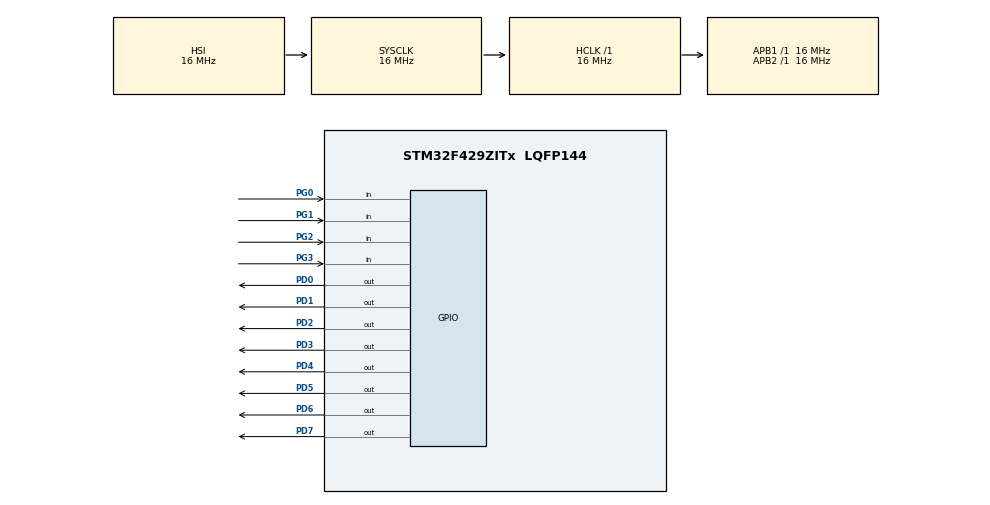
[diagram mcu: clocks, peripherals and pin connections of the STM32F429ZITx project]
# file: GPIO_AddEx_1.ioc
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Mcu.Family=STM32F4
Mcu.Name=STM32F429ZITx
Mcu.Package=LQFP144
NVIC.PriorityGroup=NVIC_PRIORITYGROUP_4
PA13.Mode=Serial_Wire
PA13.Signal=SYS_JTMS-SWDIO
PA14.Mode=Serial_Wire
PA14.Signal=SYS_JTCK-SWCLK
PD0.GPIO_ModeDefaultOutputPP=GPIO_MODE_OUTPUT_PP
PD0.GPIO_PuPd=GPIO_PULLUP
PD0.GPIO_Speed=GPIO_SPEED_FREQ_HIGH
PD0.PinState=GPIO_PIN_RESET
PD0.Signal=GPIO_Output
PD1.GPIO_ModeDefaultOutputPP=GPIO_MODE_OUTPUT_PP
PD1.GPIO_PuPd=GPIO_PULLUP
PD1.GPIO_Speed=GPIO_SPEED_FREQ_HIGH
PD1.PinState=GPIO_PIN_RESET
PD1.Signal=GPIO_Output
PD2.GPIO_ModeDefaultOutputPP=GPIO_MODE_OUTPUT_PP
PD2.GPIO_PuPd=GPIO_PULLUP
PD2.GPIO_Speed=GPIO_SPEED_FREQ_HIGH
PD2.PinState=GPIO_PIN_RESET
PD2.Signal=GPIO_Output
PD3.GPIO_ModeDefaultOutputPP=GPIO_MODE_OUTPUT_PP
PD3.GPIO_PuPd=GPIO_PULLUP
PD3.GPIO_Speed=GPIO_SPEED_FREQ_HIGH
PD3.PinState=GPIO_PIN_RESET
PD3.Signal=GPIO_Output
PD4.GPIO_ModeDefaultOutputPP=GPIO_MODE_OUTPUT_PP
PD4.GPIO_PuPd=GPIO_PULLUP
PD4.GPIO_Speed=GPIO_SPEED_FREQ_HIGH
PD4.PinState=GPIO_PIN_RESET
PD4.Signal=GPIO_Output
PD5.GPIO_ModeDefaultOutputPP=GPIO_MODE_OUTPUT_PP
PD5.GPIO_PuPd=GPIO_PULLUP
PD5.GPIO_Speed=GPIO_SPEED_FREQ_HIGH
PD5.PinState=GPIO_PIN_RESET
PD5.Signal=GPIO_Output
PD6.GPIO_ModeDefaultOutputPP=GPIO_MODE_OUTPUT_PP
PD6.GPIO_PuPd=GPIO_PULLUP
PD6.GPIO_Speed=GPIO_SPEED_FREQ_HIGH
PD6.PinState=GPIO_PIN_RESET
PD6.Signal=GPIO_Output
PD7.GPIO_ModeDefaultOutputPP=GPIO_MODE_OUTPUT_PP
PD7.GPIO_PuPd=GPIO_PULLUP
PD7.GPIO_Speed=GPIO_SPEED_FREQ_HIGH
PD7.PinState=GPIO_PIN_RESET
PD7.Signal=GPIO_Output
PG0.GPIO_Mode=GPIO_MODE_INPUT
PG0.GPIO_PuPd=GPIO_PULLDOWN
PG0.Signal=GPIO_Input
PG1.GPIO_Mode=GPIO_MODE_INPUT
PG1.GPIO_PuPd=GPIO_PULLDOWN
PG1.Signal=GPIO_Input
PG2.GPIO_Mode=GPIO_MODE_INPUT
PG2.GPIO_PuPd=GPIO_PULLDOWN
PG2.Signal=GPIO_Input
PG3.GPIO_Mode=GPIO_MODE_INPUT
PG3.GPIO_PuPd=GPIO_PULLDOWN
PG3.Signal=GPIO_Input
ProjectManager.HeapSize=0x200
ProjectManager.StackSize=0x400
ProjectManager.TargetToolchain=STM32CubeIDE
RCC.AHBFreq_Value=16000000
RCC.APB1Freq_Value=16000000
RCC.APB2Freq_Value=16000000
RCC.CortexFreq_Value=16000000
RCC.HSE_VALUE=25000000
RCC.HSI_VALUE=16000000
RCC.LSE_VALUE=32768
RCC.SYSCLKFreq_VALUE=16000000
RCC.VCOOutputFreq_Value=192000000
board=custom

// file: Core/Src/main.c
/* USER CODE BEGIN Header */
/**
  ******************************************************************************
  * @file           : main.c
  * @brief          : Main program body
  ******************************************************************************
  * @attention
  *
  * Copyright (c) 2023 STMicroelectronics.
  * All rights reserved.
  *
  * This software is licensed under terms that can be found in the LICENSE file
  * in the root directory of this software component.
  * If no LICENSE file comes with this software, it is provided AS-IS.
  *
  ******************************************************************************
  */
/* USER CODE END Header */
#include "main.h"

void SystemClock_Config(void);
static void MX_GPIO_Init(void);
/* USER CODE BEGIN PFP */
void LED_OnOff(int, int);
/* USER CODE END PFP */

int main(void)
{
  /* USER CODE BEGIN 1 */

	unsigned char led = 0x01;
	unsigned char led_c = 0x02;

  /* USER CODE END 1 */

  /* MCU Configuration--------------------------------------------------------*/

  /* Reset of all peripherals, Initializes the Flash interface and the Systick. */
  HAL_Init();

  /* Configure the system clock */
  SystemClock_Config();

  /* Initialize all configured peripherals */
  MX_GPIO_Init();
  /* USER CODE BEGIN 2 */

  LED_OnOff(LED_ALL, 500);

  /* USER CODE END 2 */

  /* Infinite loop */
  /* USER CODE BEGIN WHILE */
  while (1)
  {
	  /*
	  do {
	  	  		  LED_OnOff(led, 200);
	  	  } while (led != 0x01);
	  led = 0x01;

	  do {
	  		  LED_OnOff(led, 200);
	  		  led = led << 1;
	  		  led = led & 0xfe;
	  	  } while (led != 0x02);
	  led = 0x01;

	  do {
	  	  		  LED_OnOff(led, 200);
	  	  		  led = led << 1;
	  	  		  led = led & 0xfe;
	  	  	  } while (led != 0x04);
	  led = 0x01;

	  do {
	  	  		  LED_OnOff(led, 200);
	  	  		  led = led << 1;
	  	  		  led = led & 0xfe;
	  	  	  } while (led != 0x08);
	  led = 0x01;

	  do {
	  	  		  LED_OnOff(led, 200);
	  	  		  led = led << 1;
	  	  		  led = led & 0xfe;
	  	  	  } while (led != 0x10);
	  led = 0x01;

	  do {
	  	  		  LED_OnOff(led, 200);
	  	  		  led = led << 1;
	  	  		  led = led & 0xfe;
	  	  	  } while (led != 0x20);
	  led = 0x01;

	  do {
	  	  		  LED_OnOff(led, 200);
	  	  		  led = led << 1;
	  	  		  led = led & 0xfe;
	  	  	  } while (led != 0x40);
	  led = 0x01;

	  do {
	  	  		  LED_OnOff(led, 200);
	  	  		  led = led << 1;
	  	  		  led = led & 0xfe;
	  	  	  } while (led != 0x80);
	  led = 0x01;
	  */

	  led = 0x01;

	  	  if (led == 0x01)
	  	  {
	  		  led_c = led_c << 1;
	  	  	  led_c = led_c & 0xfe;

	  	  }

	  do {
	  	  		  LED_OnOff(led, 200);
	  	  		  led = led << 1;
	  	  		  led = led & 0xfe;
	  	  	  } while (led != led_c);

	  if (led_c == 0x00)
	  	  		  {
	  	  			  led_c = 0x01;
	  	  		  }

    /* USER CODE END WHILE */

  }
}

void SystemClock_Config(void)
{
  RCC_OscInitTypeDef RCC_OscInitStruct = {0};
  RCC_ClkInitTypeDef RCC_ClkInitStruct = {0};

  /** Configure the main internal regulator output voltage
  */
  __HAL_RCC_PWR_CLK_ENABLE();
  __HAL_PWR_VOLTAGESCALING_CONFIG(PWR_REGULATOR_VOLTAGE_SCALE3);

  /** Initializes the RCC Oscillators according to the specified parameters
  * in the RCC_OscInitTypeDef structure.
  */
  RCC_OscInitStruct.OscillatorType = RCC_OSCILLATORTYPE_HSI;
  RCC_OscInitStruct.HSIState = RCC_HSI_ON;
  RCC_OscInitStruct.HSICalibrationValue = RCC_HSICALIBRATION_DEFAULT;
  RCC_OscInitStruct.PLL.PLLState = RCC_PLL_NONE;
  if (HAL_RCC_OscConfig(&RCC_OscInitStruct) != HAL_OK)
  {
    Error_Handler();
  }

  /** Initializes the CPU, AHB and APB buses clocks
  */
  RCC_ClkInitStruct.ClockType = RCC_CLOCKTYPE_HCLK|RCC_CLOCKTYPE_SYSCLK
                              |RCC_CLOCKTYPE_PCLK1|RCC_CLOCKTYPE_PCLK2;
  RCC_ClkInitStruct.SYSCLKSource = RCC_SYSCLKSOURCE_HSI;
  RCC_ClkInitStruct.AHBCLKDivider = RCC_SYSCLK_DIV1;
  RCC_ClkInitStruct.APB1CLKDivider = RCC_HCLK_DIV1;
  RCC_ClkInitStruct.APB2CLKDivider = RCC_HCLK_DIV1;

  if (HAL_RCC_ClockConfig(&RCC_ClkInitStruct, FLASH_LATENCY_0) != HAL_OK)
  {
    Error_Handler();
  }
}

static void MX_GPIO_Init(void)
{
  GPIO_InitTypeDef GPIO_InitStruct = {0};

  /* GPIO Ports Clock Enable */
  __HAL_RCC_GPIOG_CLK_ENABLE();
  __HAL_RCC_GPIOA_CLK_ENABLE();
  __HAL_RCC_GPIOD_CLK_ENABLE();

  /*Configure GPIO pin Output Level */
  HAL_GPIO_WritePin(GPIOD, GPIO_PIN_0|GPIO_PIN_1|GPIO_PIN_2|GPIO_PIN_3
                          |GPIO_PIN_4|GPIO_PIN_5|GPIO_PIN_6|GPIO_PIN_7, GPIO_PIN_RESET);

  /*Configure GPIO pins : PG0 PG1 PG2 PG3 */
  GPIO_InitStruct.Pin = GPIO_PIN_0|GPIO_PIN_1|GPIO_PIN_2|GPIO_PIN_3;
  GPIO_InitStruct.Mode = GPIO_MODE_INPUT;
  GPIO_InitStruct.Pull = GPIO_PULLDOWN;
  HAL_GPIO_Init(GPIOG, &GPIO_InitStruct);

  /*Configure GPIO pins : PD0 PD1 PD2 PD3
                           PD4 PD5 PD6 PD7 */
  GPIO_InitStruct.Pin = GPIO_PIN_0|GPIO_PIN_1|GPIO_PIN_2|GPIO_PIN_3
                          |GPIO_PIN_4|GPIO_PIN_5|GPIO_PIN_6|GPIO_PIN_7;
  GPIO_InitStruct.Mode = GPIO_MODE_OUTPUT_PP;
  GPIO_InitStruct.Pull = GPIO_PULLUP;
  GPIO_InitStruct.Speed = GPIO_SPEED_FREQ_HIGH;
  HAL_GPIO_Init(GPIOD, &GPIO_InitStruct);

}

/* USER CODE BEGIN 4 */

void LED_OnOff(int led, int interval)
{
	HAL_GPIO_WritePin(GPIO_LED, led, GPIO_PIN_SET );
	HAL_Delay(interval);
	HAL_GPIO_WritePin(GPIO_LED, led, GPIO_PIN_RESET );
}

/* USER CODE END 4 */

void Error_Handler(void)
{
  __disable_irq();
  while (1)
  {
  }
}
